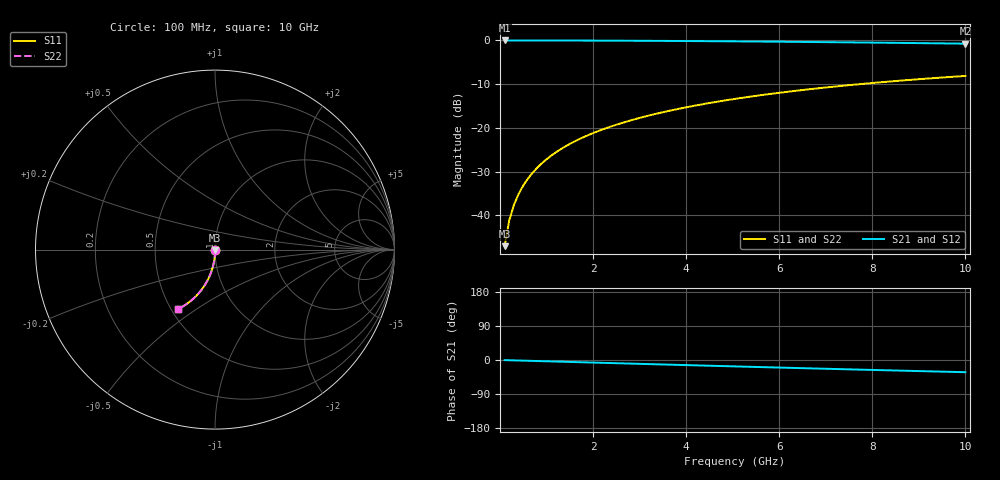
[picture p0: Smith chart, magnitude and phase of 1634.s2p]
# Hz S RI R 50.00
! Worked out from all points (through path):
!   100 points, 100 MHz to 10 GHz, reference 50 ohm
!   highest |S21| = -0.01 dB at 100 MHz (marker M1); lowest = -0.7 dB at 10 GHz (marker M2)
!   group delay of S21, straight-line fit = 8.97 ps
!   lowest |S11| = -47.1 dB at 100 MHz (marker M3), VSWR 1.01, Z = 50.1 - j0.438 ohm
!   |S11| at or under -10 dB: start of sweep to 7.733 GHz
!   |S22| runs from -47.1 to -8.1 dB; largest |S21 - S12| = 0
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1e8  0.000686 -0.00438  0.9993 -0.00592  0.9993 -0.00592  0.000686 -0.00438
2e8  0.000608 -0.00875  0.9992 -0.0118  0.9992 -0.0118  0.000608 -0.00875
3e8  0.000477 -0.0131  0.999 -0.0178  0.999 -0.0178  0.000477 -0.0131
4e8  0.000294 -0.0175  0.9988 -0.0237  0.9988 -0.0237  0.000294 -0.0175
5e8  5.81e-05 -0.0219  0.9986 -0.0296  0.9986 -0.0296  5.81e-05 -0.0219
6e8  -0.000229 -0.0262  0.9983 -0.0355  0.9983 -0.0355  -0.000229 -0.0262
7e8  -0.000569 -0.0306  0.9979 -0.0414  0.9979 -0.0414  -0.000569 -0.0306
8e8  -0.000959 -0.0349  0.9975 -0.0473  0.9975 -0.0473  -0.000959 -0.0349
9e8  -0.0014 -0.0393  0.997 -0.0532  0.997 -0.0532  -0.0014 -0.0393
1.1e9  -0.00244 -0.048  0.9959 -0.065  0.9959 -0.065  -0.00244 -0.048
1.4e9  -0.00438 -0.0609  0.9939 -0.0826  0.9939 -0.0826  -0.00438 -0.0609
1.8e9  -0.00767 -0.078  0.9904 -0.1059  0.9904 -0.1059  -0.00767 -0.078
2.1e9  -0.0107 -0.0907  0.9873 -0.1232  0.9873 -0.1232  -0.0107 -0.0907
2.5e9  -0.0153 -0.1074  0.9824 -0.1461  0.9824 -0.1461  -0.0153 -0.1074
2.9e9  -0.0208 -0.1238  0.9767 -0.1687  0.9767 -0.1687  -0.0208 -0.1238
3.4e9  -0.0286 -0.1438  0.9685 -0.1965  0.9685 -0.1965  -0.0286 -0.1438
4.2e9  -0.0433 -0.1746  0.953 -0.2397  0.953 -0.2397  -0.0433 -0.1746
5.1e9  -0.063 -0.207  0.9323 -0.2862  0.9323 -0.2862  -0.063 -0.207
5.9e9  -0.0828 -0.2336  0.9113 -0.3253  0.9113 -0.3253  -0.0828 -0.2336
6.7e9  -0.1046 -0.258  0.8883 -0.3622  0.8883 -0.3622  -0.1046 -0.258
8.4e9  -0.1561 -0.3017  0.8336 -0.4326  0.8336 -0.4326  -0.1561 -0.3017
1e10  -0.2086 -0.3325  0.7774 -0.4889  0.7774 -0.4889  -0.2086 -0.3325
